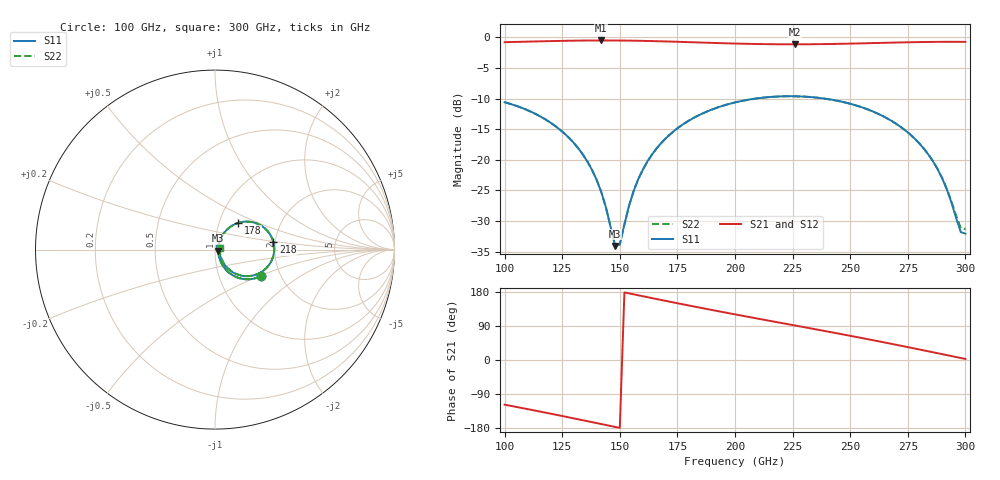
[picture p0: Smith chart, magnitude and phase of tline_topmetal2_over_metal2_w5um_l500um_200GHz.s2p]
#  GHZ S DB R 50
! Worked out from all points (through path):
!   101 points, 100 GHz to 300 GHz, reference 50 ohm
!   highest |S21| = -0.52 dB at 142 GHz (marker M1); lowest = -1.1 dB at 226 GHz (marker M2)
!   group delay of S21, straight-line fit = 3.29 ps
!   lowest |S11| = -34.1 dB at 148 GHz (marker M3), VSWR 1.04, Z = 51.9 - j0.677 ohm
!   |S11| at or under -10 dB: start of sweep to 209.2 GHz; 238.6 GHz to end of sweep
!   |S22| runs from -34.1 to -9.6 dB; largest |S21 - S12| = 1.1e-14
!   S11 on the Smith chart (normalised r, x): 100 GHz: 1.59, -0.51; 178 GHz: 1.23, +0.38; 218 GHz: 1.95, +0.18; 300 GHz: 1.05, +0.01
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100  -10.60 -30.0  -0.80 -117.9  -0.80 -117.9  -10.60 -30.0
120  -13.96 -51.0  -0.63 -141.7  -0.63 -141.7  -13.96 -51.1
134  -19.16 -63.3  -0.54 -159.0  -0.54 -159.0  -19.16 -63.3
142  -25.32 -62.6  -0.52 -169.1  -0.52 -169.1  -25.32 -62.7
148  -34.09 -19.3  -0.53 -176.6  -0.53 -176.6  -34.11 -19.4
150  -33.81 21.6  -0.53 -179.2  -0.53 -179.2  -33.84 21.6
154  -27.51 56.5  -0.55 175.8  -0.55 175.8  -27.52 56.5
158  -23.18 62.4  -0.57 170.8  -0.57 170.8  -23.19 62.4
162  -20.27 62.1  -0.60 165.8  -0.60 165.8  -20.27 62.1
168  -17.26 58.2  -0.66 158.4  -0.66 158.4  -17.27 58.2
178  -14.08 48.9  -0.77 146.2  -0.77 146.2  -14.08 48.9
200  -10.64 26.1  -1.02 120.4  -1.02 120.4  -10.64 26.1
218  -9.69 7.3  -1.14 100.1  -1.14 100.1  -9.69 7.3
226  -9.63 -1.0  -1.15 91.1  -1.15 91.1  -9.64 -1.0
234  -9.80 -9.4  -1.13 82.1  -1.13 82.1  -9.80 -9.3
252  -11.07 -28.2  -1.02 61.5  -1.02 61.5  -11.07 -28.0
268  -13.67 -44.5  -0.88 42.5  -0.88 42.5  -13.67 -44.2
278  -16.56 -53.6  -0.80 30.3  -0.80 30.3  -16.55 -53.0
286  -20.30 -57.9  -0.76 20.3  -0.76 20.3  -20.27 -56.9
292  -24.90 -54.4  -0.74 12.8  -0.74 12.8  -24.79 -52.5
298  -31.82 -16.1  -0.74 5.2  -0.74 5.2  -31.14 -14.2
300  -32.06 14.6  -0.75 2.7  -0.75 2.7  -31.30 13.7
